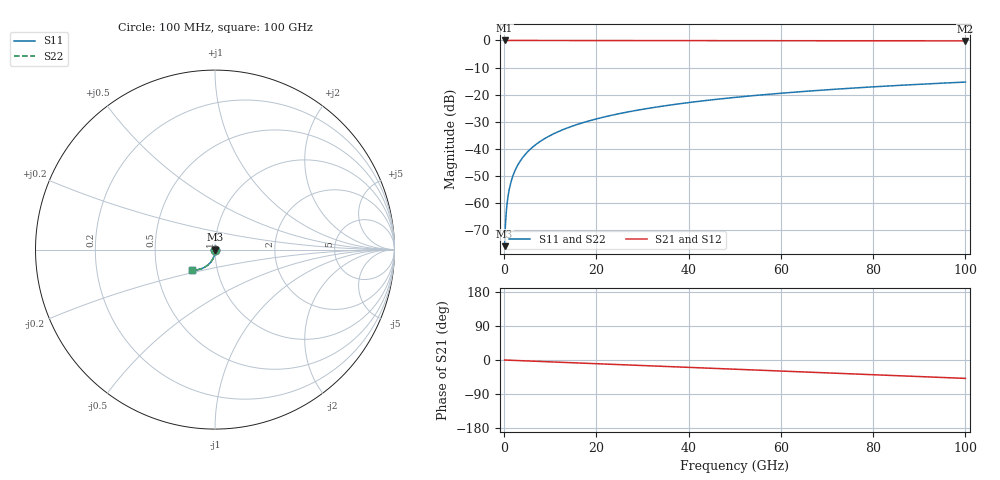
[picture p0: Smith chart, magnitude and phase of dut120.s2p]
! Touchstone file exported from HFSS 2026.1.0
!  File:  C:/ffzhzh/LocalFiles/Ansys_Project_Files/temp_train_TSV_120_1783506093_44152.aedt
!  Generated:  06:22:42 PM Jul  8, 2026
!  Design:  TSV
!  Project:  temp_train_TSV_120_1783506093_44152
! Variables:
!  h_bsmrdl = 2um
!  h_ox = 20um
!  h_rdl = 5um
!  h_sub = 99.49um
!  h_tmrdl = 5um
!  h_tsv = 99.49um
!  h_via = 3um
!  l_bsmrdl = 300um
!  l_sub = 427.78um
!  l_tmrdl = 200um
!  m_sub = 200um
!  pitch = 45.88um
!  r_tsv = 13.89um
!  s_tmrdl = 10um
!  w_bsmrdl = 18um
!  w_sub = 500um
!  w_tmrdl = 12um
!  x_tsv_center1 = 206um
!  x_tsv_center2 = 524um
!  x_tsv_center3 = 736um
!  x_tsv_center4 = 1054um
!  x_tsv_center5 = 1266um
!  x_tsv_center6 = 1584um
# GHz S MA R 50.000000
! Terminal data exported
! Port[1] = TSV1_1_T1
! Port[2] = TSV1_1_T2
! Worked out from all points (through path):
!   1000 points, 100 MHz to 100 GHz, reference 50 ohm
!   highest |S21| = 0.00 dB at 100 MHz (marker M1); lowest = -0.2 dB at 100 GHz (marker M2)
!   group delay of S21, straight-line fit = 1.35 ps
!   lowest |S11| = -76.1 dB at 100 MHz (marker M3), VSWR 1.00, Z = 50 - j0.0126 ohm
!   |S11| at or under -10 dB: start of sweep to end of sweep
!   |S22| runs from -76.1 to -15.4 dB; largest |S21 - S12| = 3.1e-15
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0.1  0.0001576 -52.8  0.9999 -0.1  0.9999 -0.1  0.0001576 -52.8
! Gamma 0 0 0 0
! Port Impedance 50 0 50 0
0.4  0.0005779 -73.1  0.9998 -0.2  0.9998 -0.2  0.0005779 -73.1
0.7  0.001072 -77.4  0.9998 -0.4  0.9998 -0.4  0.001072 -77.4
0.8  0.001242 -78.4  0.9997 -0.4  0.9997 -0.4  0.001242 -78.4
1  0.001583 -80.0  0.9997 -0.5  0.9997 -0.5  0.001583 -80.0
1.3  0.002097 -81.7  0.9997 -0.6  0.9997 -0.6  0.002097 -81.7
1.7  0.002785 -83.3  0.9996 -0.8  0.9996 -0.8  0.002785 -83.3
2.3  0.003824 -84.7  0.9996 -1.1  0.9996 -1.1  0.003824 -84.7
2.9  0.004872 -85.8  0.9995 -1.4  0.9995 -1.4  0.004872 -85.8
3.7  0.006281 -86.8  0.9994 -1.8  0.9994 -1.8  0.006281 -86.8
4.7  0.008053 -87.9  0.9993 -2.3  0.9993 -2.3  0.008053 -87.9
5.8  0.01001 -88.9  0.9993 -2.9  0.9993 -2.9  0.01001 -88.9
8.6  0.01501 -91.0  0.9991 -4.2  0.9991 -4.2  0.01501 -91.0
12.2  0.02147 -93.3  0.9988 -6.0  0.9988 -6.0  0.02147 -93.3
16.8  0.02973 -95.9  0.9984 -8.2  0.9984 -8.2  0.02973 -95.9
24.2  0.04301 -99.9  0.9976 -11.8  0.9976 -11.8  0.04301 -99.9
33.4  0.05942 -104.7  0.9965 -16.3  0.9965 -16.3  0.05942 -104.7
41.2  0.0732 -108.6  0.9954 -20.1  0.9954 -20.1  0.0732 -108.6
50.1  0.08874 -113.1  0.9939 -24.4  0.9939 -24.4  0.08874 -113.1
66.7  0.117 -121.3  0.9906 -32.4  0.9906 -32.4  0.117 -121.4
83.4  0.1443 -129.6  0.9865 -40.5  0.9865 -40.5  0.1443 -129.6
100  0.1701 -137.8  0.9818 -48.5  0.9818 -48.5  0.1701 -137.8
